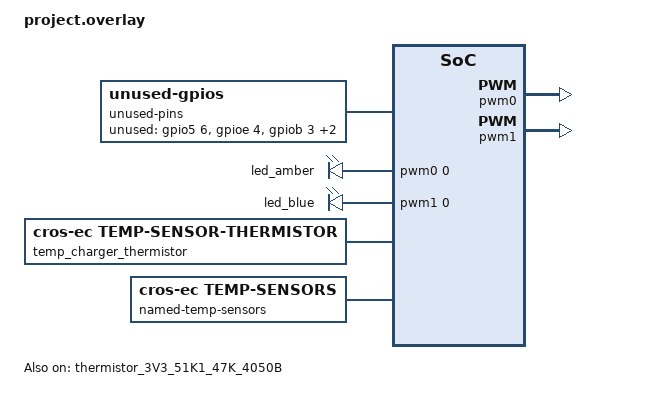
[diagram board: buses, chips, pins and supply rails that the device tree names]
/* Copyright 2022 The ChromiumOS Authors
 * Use of this source code is governed by a BSD-style license that can be
 * found in the LICENSE file.
 */

/* Corsola program common DTS includes */

#include "../common.dtsi"
#include "../power_signal.dtsi"
#include "../usba.dtsi"
#include "../npcx_adc.dtsi"
#include "../npcx_gpio.dtsi"
#include "../npcx_host_interface.dtsi"
#include "../npcx_i2c.dtsi"
#include "../npcx_interrupts.dtsi"
#include "../npcx_keyboard.dtsi"
#include "../npcx_usbc.dtsi"
#include "../npcx_default_gpio_pinctrl.dtsi"
#include <cros/thermistor/thermistor.dtsi>
#include <dt-bindings/battery.h>

/ {
	unused-pins {
		compatible = "unused-gpios";

		unused-gpios =
			/* base_imu_int_l */
			<&gpio5 6 0>,
			/* ec_pen_chg_dis_odl */
			<&gpioe 4 0>,
			/* lid_accel_int_l */
			<&gpiob 3 0>,
			/* gpio_tablet_mode_l */
			<&gpiob 2 0>,
			/* LED3 */
			<&gpioc 4 0>;
	};

	batteries {
		default_battery: lgc_ap18c8k {
			compatible = "lgc,ap18c8k", "battery-smart";
		};
		cosmx_ap20cbl-2 {
			compatible = "cosmx,ap20cbl-2", "battery-smart";
		};
		cosmx_ap23abl {
			compatible = "cosmx,ap23abl", "battery-smart";
		};
		lgc_ap19b8k {
			compatible = "lgc,ap19b8k", "battery-smart";
		};
		lges-ap23a8l {
			compatible = "lges,ap23a8l", "battery-smart";
		};
		panasonic_ap19b5k {
			compatible = "panasonic,ap19b5k", "battery-smart";
		};
		panasonic_ap23a5l {
			compatible = "panasonic,ap23a5l", "battery-smart";
		};
		smp_ap18c7k {
			compatible = "smp,ap18c7k", "battery-smart";
		};
		smp_ap23a7l {
			compatible = "smp,ap23a7l", "battery-smart";
		};
	};

	cros-keyscan {
		compatible = "cros-ec,keyscan";

		debounce-down = <20000>;
		debounce-up = <20000>;

		actual-key-mask = <
			0x1c	/* C0 */
			0xff	/* C1 */
			0xff	/* C2 */
			0xff	/* C3 */
			0xff	/* C4 */
			0xf5	/* C5 */
			0xff	/* C6 */
			0xa4	/* C7 */
			0xff	/* C8 */
			0xfe	/* C9 */
			0x55	/* C10 */
			0xfa	/* C11 */
			0xca	/* C12 */
		>;
	};

	led-colors {
		compatible = "cros-ec,led-policy";

		/* Voltorb LED bat charge */
		bat-power-state-charge {
			charge-state = "LED_PWRS_CHARGE";
			/* Battery display percent range (>= Empty, <= 99%) */
			batt-lvl = <BATTERY_LEVEL_EMPTY 99>;

			battery-led {
				led-id = "EC_LED_ID_BATTERY_LED";

				color-0 {
					led-color = "LED_AMBER";
				};
			};
		};

		/* Voltorb LED bat charge, full batt-lvl */
		bat-power-state-charge-full {
			charge-state = "LED_PWRS_CHARGE";
			/* Battery display percent range (100%) */
			batt-lvl = <BATTERY_LEVEL_FULL BATTERY_LEVEL_FULL>;

			battery-led {
				led-id = "EC_LED_ID_BATTERY_LED";

				color-0 {
					led-color = "LED_BLUE";
				};
			};
		};

		/* Voltorb LED bat charge near full */
		bat-power-state-charge-near-full {
			charge-state = "LED_PWRS_CHARGE_NEAR_FULL";

			battery-led {
				led-id = "EC_LED_ID_BATTERY_LED";

				color-0 {
					led-color = "LED_BLUE";
				};
			};
		};

		/* Voltorb LED bat discharge */
		bat-power-state-discharge-s0 {
			charge-state = "LED_PWRS_DISCHARGE";
			chipset-state = "POWER_S0";

			battery-led {
				led-id = "EC_LED_ID_BATTERY_LED";

				color-0 {
					led-color = "LED_BLUE";
				};
			};
		};
		bat-power-state-discharge-s3 {
			charge-state = "LED_PWRS_DISCHARGE";
			chipset-state = "POWER_S3";

			battery-led {
				led-id = "EC_LED_ID_BATTERY_LED";

				color-0 {
					led-color = "LED_AMBER";
					period-ms = <1000>;
				};
				color-1 {
					led-color = "LED_OFF";
					period-ms = <3000>;
				};
			};
		};
		bat-power-state-discharge-s5 {
			charge-state = "LED_PWRS_DISCHARGE";
			chipset-state = "POWER_S5";

			battery-led {
				led-id = "EC_LED_ID_BATTERY_LED";

				color-0 {
					led-color = "LED_OFF";
				};
			};
		};

		/* Voltorb LED bat error */
		bat-power-state-error {
			charge-state = "LED_PWRS_ERROR";

			battery-led {
				led-id = "EC_LED_ID_BATTERY_LED";

				color-0 {
					led-color = "LED_AMBER";
					period-ms = <1000>;
				};
				color-1 {
					led-color = "LED_OFF";
					period-ms = <1000>;
				};
			};
		};

		/* Voltorb LED power idle */
		power-state-idle {
			charge-state = "LED_PWRS_IDLE";

			battery-led {
				led-id = "EC_LED_ID_BATTERY_LED";

				color-0 {
					led-color = "LED_BLUE";
				};
			};
		};

		/* Voltorb LED power forced idle */
		power-state-forced-idle {
			charge-state = "LED_PWRS_FORCED_IDLE";

			battery-led {
				led-id = "EC_LED_ID_BATTERY_LED";

				color-0 {
					led-color = "LED_AMBER";
					period-ms = <2000>;
				};
				color-1 {
					led-color = "LED_BLUE";
					period-ms = <2000>;
				};
			};
		};
	};

	pwmleds {
		compatible = "pwm-leds";

		led_amber: ec_led1_odl {
			pwms = <&pwm0 0 PWM_HZ(100) PWM_POLARITY_INVERTED>;
		};

		led_blue: ec_led2_odl {
			pwms = <&pwm1 0 PWM_HZ(100) PWM_POLARITY_INVERTED>;
		};
	};

	pwm-led-pins {
		compatible = "cros-ec,pwm-led-pins";

		battery_led: battery-led {
			led-id = "EC_LED_ID_BATTERY_LED";
			led-pwms = <&led_amber &led_blue>;

			color-off {
				led-color = "LED_OFF";
				led-values = <0 0>;
			};

			color-amber {
				led-color = "LED_AMBER";
				led-values = <100 0>;
			};

			color_blue {
				led-color = "LED_BLUE";
				led-values = <0 100>;
			};
		};
	};

	/* temp sensors */
	named-adc-channels {
		adc_temp_charger: temp-charger {
			enum-name = "ADC_TEMP_SENSOR_CHARGER";
			io-channels = <&adc0 8>;
		};
	};

	temp_charger_thermistor: charger-thermistor {
		compatible = "cros-ec,temp-sensor-thermistor";
		thermistor = <&thermistor_3V3_51K1_47K_4050B>;
		adc = <&adc_temp_charger>;
	};

	named-temp-sensors {
		compatible = "cros-ec,temp-sensors";
		temp_sensor_charger: charger-thermistor {
			temp_host_halt = <75>;
			temp_host_release_halt = <65>;
			sensor = <&temp_charger_thermistor>;
		};
	};
};

/* Amber LED */
&pwm0_gpc3 {
	drive-open-drain;
};

&pwm0 {
	status = "okay";
	clock-bus = "NPCX_CLOCK_BUS_LFCLK";
	pinctrl-0 = <&pwm0_gpc3>;
	pinctrl-names = "default";
};

/* Blue LED */
&pwm1_gpc2 {
	drive-open-drain;
};

&pwm1 {
	status = "okay";
	clock-bus = "NPCX_CLOCK_BUS_LFCLK";
	pinctrl-0 = <&pwm1_gpc2>;
	pinctrl-names = "default";
};

/* gpio overrides */
/ {
	named-gpios {
		/delete-node/ base_imu_int_l;
		/delete-node/ ec_pen_chg_dis_odl;
		/delete-node/ lid_accel_int_l;
		/delete-node/ gpio_tablet_mode_l;
	};
};

/* interrupts overrides */
/ {
	gpio-interrupts {
		/delete-node/ base_imu;
		/delete-node/ tablet_mode;
	};
};

&thermistor_3V3_51K1_47K_4050B {
	status = "okay";
};

/* adc0 overrides */
&adc0 {
	pinctrl-0 = <&adc0_chan0_gp45
		     &adc0_chan1_gp44
		     &adc0_chan2_gp43
		     &adc0_chan3_gp42
		     &adc0_chan8_gpf1>;
};
